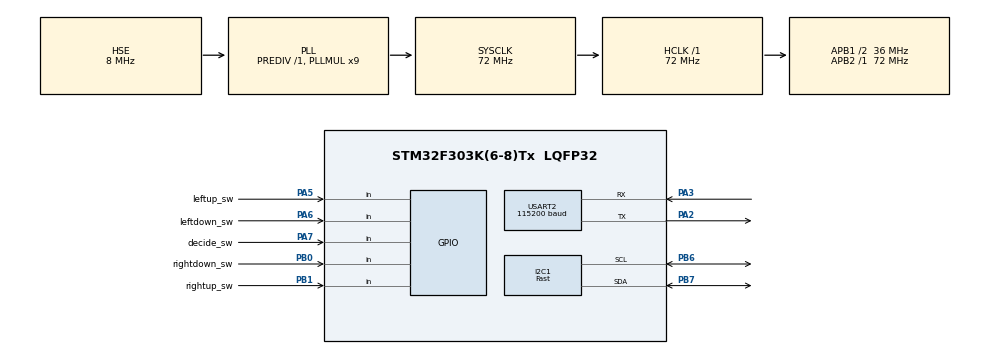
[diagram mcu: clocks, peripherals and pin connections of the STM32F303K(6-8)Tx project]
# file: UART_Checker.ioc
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I2C1.I2C_Speed_Mode=I2C_Fast
I2C1.Timing=0x0000020B
Mcu.Family=STM32F3
Mcu.Name=STM32F303K(6-8)Tx
Mcu.Package=LQFP32
NVIC.PriorityGroup=NVIC_PRIORITYGROUP_4
PA13.Mode=Serial_Wire
PA13.Signal=SYS_JTMS-SWDIO
PA14.Mode=Serial_Wire
PA14.Signal=SYS_JTCK-SWCLK
PA2.Mode=Asynchronous
PA2.Signal=USART2_TX
PA3.Mode=Asynchronous
PA3.Signal=USART2_RX
PA5.GPIO_Label=leftup_sw
PA5.Signal=GPIO_Input
PA6.GPIO_Label=leftdown_sw
PA6.Signal=GPIO_Input
PA7.GPIO_Label=decide_sw
PA7.Signal=GPIO_Input
PB0.GPIO_Label=rightdown_sw
PB0.Signal=GPIO_Input
PB1.GPIO_Label=rightup_sw
PB1.Signal=GPIO_Input
PB6.Mode=I2C
PB6.Signal=I2C1_SCL
PB7.Mode=I2C
PB7.Signal=I2C1_SDA
PF0\ /\ OSC_IN.Mode=HSE-External-Oscillator
PF0\ /\ OSC_IN.Signal=RCC_OSC_IN
PF1\ /\ OSC_OUT.Mode=HSE-External-Oscillator
PF1\ /\ OSC_OUT.Signal=RCC_OSC_OUT
ProjectManager.HeapSize=0x200
ProjectManager.StackSize=0x400
ProjectManager.TargetToolchain=STM32CubeIDE
RCC.AHBFreq_Value=72000000
RCC.APB1CLKDivider=RCC_HCLK_DIV2
RCC.APB1Freq_Value=36000000
RCC.APB1TimFreq_Value=72000000
RCC.APB2Freq_Value=72000000
RCC.APB2TimFreq_Value=72000000
RCC.CortexFreq_Value=72000000
RCC.HCLKFreq_Value=72000000
RCC.HSE_VALUE=8000000
RCC.HSI_VALUE=8000000
RCC.PLLMUL=RCC_PLL_MUL9
RCC.PLLSourceVirtual=RCC_PLLSOURCE_HSE
RCC.SYSCLKFreq_VALUE=72000000
RCC.SYSCLKSourceVirtual=RCC_SYSCLKSOURCE_PLLCLK
USART2.BaudRate=115200
USART2.VirtualMode-Asynchronous=VM_ASYNC
board=custom

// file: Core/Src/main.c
/* USER CODE BEGIN Header */
/**
  ******************************************************************************
  * @file           : main.c
  * @brief          : Main program body
  ******************************************************************************
  * @attention
  *
  * Copyright (c) 2025 STMicroelectronics.
  * All rights reserved.
  *
  * This software is licensed under terms that can be found in the LICENSE file
  * in the root directory of this software component.
  * If no LICENSE file comes with this software, it is provided AS-IS.
  *
  ******************************************************************************
  */
/* USER CODE END Header */
#include "main.h"

/* USER CODE BEGIN Includes */
#include "ssd1306_hal.h"
/* USER CODE END Includes */

/* USER CODE BEGIN PTD */
typedef enum {
	SETTING			= 0,
	RECEIVE_TEST,
	TRANSMIT_TEST,
	MONITOR_MODE,
} UART_Config_t;

typedef enum {
	BAUDRATE	= 0,
	RECEIVE,
	TRANSMIT,
	MONITOR,
} UART_Setting_t;
/* USER CODE END PTD */

I2C_HandleTypeDef hi2c1;

UART_HandleTypeDef huart2;

/* USER CODE BEGIN PV */
uint32_t baudrate = 115200;
uint32_t baudrate_select[10] = {1200, 2400, 4800, 9600, 19200, 38400, 57600, 115200, 230400, 460800};

uint8_t receive_num = 1;
uint8_t receive_buf[32] = {0};

uint8_t transmit_num = 1;
uint8_t transmi_buf[32] = {0};
/* USER CODE END PV */

void SystemClock_Config(void);
static void MX_GPIO_Init(void);
static void MX_I2C1_Init(void);
static void MX_USART2_UART_Init(void);
/* USER CODE BEGIN PFP */
void UART_Setting(void);
void Receive_Test(void);
void Transmit_Test(void);
void Monitor_Mode(void);
/* USER CODE END PFP */

int main(void)
{

  /* MCU Configuration--------------------------------------------------------*/

  /* Reset of all peripherals, Initializes the Flash interface and the Systick. */
  HAL_Init();

  /* Configure the system clock */
  SystemClock_Config();

  /* Initialize all configured peripherals */
  MX_GPIO_Init();
  MX_I2C1_Init();
  MX_USART2_UART_Init();
  /* USER CODE BEGIN 2 */
  OLED_Init(&hi2c1, OLED_Init_Data, sizeof(OLED_Init_Data));

  OLED_Thrcot_Large_Logo_Display(&hi2c1);
  HAL_Delay(2000);
  OLED_AllClear(&hi2c1);
  /* USER CODE END 2 */

  /* Infinite loop */
  /* USER CODE BEGIN WHILE */
  while (1)
  {
	  static UART_Config_t config = SETTING;

	  OLED_DataClear();
	  OLED_Char_Print("Select to do.", 0, 0);
	  OLED_Char_Print(" Settings", 0, 8);
	  OLED_Char_Print(" Receive test", 0, 16);
	  OLED_Char_Print(" Transmit test", 0, 24);
	  OLED_Char_Print(" SerialMonitor", 0, 32);
	  OLED_Char_Print(">", 0, config * 8 + 8);
	  OLED_Display(&hi2c1);

	  if (HAL_GPIO_ReadPin(decide_sw_GPIO_Port, decide_sw_Pin) == 1) {
		  while (HAL_GPIO_ReadPin(decide_sw_GPIO_Port, decide_sw_Pin) == 1);

		  switch (config) {
			case SETTING:
				UART_Setting();
				break;

			case RECEIVE_TEST:

				break;

			case TRANSMIT_TEST:

				break;

			case MONITOR_MODE:

				break;
		}
	  }

	  if (HAL_GPIO_ReadPin(leftup_sw_GPIO_Port, leftup_sw_Pin) == 1) {
		  while (HAL_GPIO_ReadPin(leftup_sw_GPIO_Port, leftup_sw_Pin) == 1);
		  config = (config == SETTING) ? MONITOR_MODE : config - 1;
	  }

	  if (HAL_GPIO_ReadPin(leftdown_sw_GPIO_Port, leftdown_sw_Pin) == 1) {
		  while (HAL_GPIO_ReadPin(leftdown_sw_GPIO_Port, leftdown_sw_Pin) == 1);
		  config = (config == MONITOR_MODE) ? SETTING : config + 1;
	  }
    /* USER CODE END WHILE */

  }
}

void SystemClock_Config(void)
{
  RCC_OscInitTypeDef RCC_OscInitStruct = {0};
  RCC_ClkInitTypeDef RCC_ClkInitStruct = {0};
  RCC_PeriphCLKInitTypeDef PeriphClkInit = {0};

  /** Initializes the RCC Oscillators according to the specified parameters
  * in the RCC_OscInitTypeDef structure.
  */
  RCC_OscInitStruct.OscillatorType = RCC_OSCILLATORTYPE_HSI|RCC_OSCILLATORTYPE_HSE;
  RCC_OscInitStruct.HSEState = RCC_HSE_ON;
  RCC_OscInitStruct.HSEPredivValue = RCC_HSE_PREDIV_DIV1;
  RCC_OscInitStruct.HSIState = RCC_HSI_ON;
  RCC_OscInitStruct.HSICalibrationValue = RCC_HSICALIBRATION_DEFAULT;
  RCC_OscInitStruct.PLL.PLLState = RCC_PLL_ON;
  RCC_OscInitStruct.PLL.PLLSource = RCC_PLLSOURCE_HSE;
  RCC_OscInitStruct.PLL.PLLMUL = RCC_PLL_MUL9;
  if (HAL_RCC_OscConfig(&RCC_OscInitStruct) != HAL_OK)
  {
    Error_Handler();
  }

  /** Initializes the CPU, AHB and APB buses clocks
  */
  RCC_ClkInitStruct.ClockType = RCC_CLOCKTYPE_HCLK|RCC_CLOCKTYPE_SYSCLK
                              |RCC_CLOCKTYPE_PCLK1|RCC_CLOCKTYPE_PCLK2;
  RCC_ClkInitStruct.SYSCLKSource = RCC_SYSCLKSOURCE_PLLCLK;
  RCC_ClkInitStruct.AHBCLKDivider = RCC_SYSCLK_DIV1;
  RCC_ClkInitStruct.APB1CLKDivider = RCC_HCLK_DIV2;
  RCC_ClkInitStruct.APB2CLKDivider = RCC_HCLK_DIV1;

  if (HAL_RCC_ClockConfig(&RCC_ClkInitStruct, FLASH_LATENCY_2) != HAL_OK)
  {
    Error_Handler();
  }
  PeriphClkInit.PeriphClockSelection = RCC_PERIPHCLK_I2C1;
  PeriphClkInit.I2c1ClockSelection = RCC_I2C1CLKSOURCE_HSI;
  if (HAL_RCCEx_PeriphCLKConfig(&PeriphClkInit) != HAL_OK)
  {
    Error_Handler();
  }
}

static void MX_I2C1_Init(void)
{

  hi2c1.Instance = I2C1;
  hi2c1.Init.Timing = 0x0000020B;
  hi2c1.Init.OwnAddress1 = 0;
  hi2c1.Init.AddressingMode = I2C_ADDRESSINGMODE_7BIT;
  hi2c1.Init.DualAddressMode = I2C_DUALADDRESS_DISABLE;
  hi2c1.Init.OwnAddress2 = 0;
  hi2c1.Init.OwnAddress2Masks = I2C_OA2_NOMASK;
  hi2c1.Init.GeneralCallMode = I2C_GENERALCALL_DISABLE;
  hi2c1.Init.NoStretchMode = I2C_NOSTRETCH_DISABLE;
  if (HAL_I2C_Init(&hi2c1) != HAL_OK)
  {
    Error_Handler();
  }

  /** Configure Analogue filter
  */
  if (HAL_I2CEx_ConfigAnalogFilter(&hi2c1, I2C_ANALOGFILTER_ENABLE) != HAL_OK)
  {
    Error_Handler();
  }

  /** Configure Digital filter
  */
  if (HAL_I2CEx_ConfigDigitalFilter(&hi2c1, 0) != HAL_OK)
  {
    Error_Handler();
  }

}

static void MX_USART2_UART_Init(void)
{

  huart2.Instance = USART2;
  huart2.Init.BaudRate = 115200;
  huart2.Init.WordLength = UART_WORDLENGTH_8B;
  huart2.Init.StopBits = UART_STOPBITS_1;
  huart2.Init.Parity = UART_PARITY_NONE;
  huart2.Init.Mode = UART_MODE_TX_RX;
  huart2.Init.HwFlowCtl = UART_HWCONTROL_NONE;
  huart2.Init.OverSampling = UART_OVERSAMPLING_16;
  huart2.Init.OneBitSampling = UART_ONE_BIT_SAMPLE_DISABLE;
  huart2.AdvancedInit.AdvFeatureInit = UART_ADVFEATURE_NO_INIT;
  if (HAL_UART_Init(&huart2) != HAL_OK)
  {
    Error_Handler();
  }

}

static void MX_GPIO_Init(void)
{
  GPIO_InitTypeDef GPIO_InitStruct = {0};

  /* GPIO Ports Clock Enable */
  __HAL_RCC_GPIOF_CLK_ENABLE();
  __HAL_RCC_GPIOA_CLK_ENABLE();
  __HAL_RCC_GPIOB_CLK_ENABLE();

  /*Configure GPIO pins : leftup_sw_Pin leftdown_sw_Pin decide_sw_Pin */
  GPIO_InitStruct.Pin = leftup_sw_Pin|leftdown_sw_Pin|decide_sw_Pin;
  GPIO_InitStruct.Mode = GPIO_MODE_INPUT;
  GPIO_InitStruct.Pull = GPIO_NOPULL;
  HAL_GPIO_Init(GPIOA, &GPIO_InitStruct);

  /*Configure GPIO pins : rightdown_sw_Pin rightup_sw_Pin */
  GPIO_InitStruct.Pin = rightdown_sw_Pin|rightup_sw_Pin;
  GPIO_InitStruct.Mode = GPIO_MODE_INPUT;
  GPIO_InitStruct.Pull = GPIO_NOPULL;
  HAL_GPIO_Init(GPIOB, &GPIO_InitStruct);

}

/* USER CODE BEGIN 4 */
void UART_Setting(void)
{
	UART_Setting_t setting = BAUDRATE;

	while (1) {
		OLED_DataClear();
		OLED_Char_Print("Select the setting", 0, 0);
		OLED_Char_Print(" Baud Rate", 0, 8);
		OLED_Char_Print(" Receive", 0, 16);
		OLED_Char_Print(" Transmit", 0, 24);
		OLED_Char_Print(" SerialMonitor", 0, 32);
		OLED_Char_Print(">", 0, setting * 8 + 8);
		OLED_Display(&hi2c1);

		if (HAL_GPIO_ReadPin(rightup_sw_GPIO_Port, rightup_sw_Pin) == 1 && HAL_GPIO_ReadPin(rightdown_sw_GPIO_Port, rightdown_sw_Pin) == 1) {
			break;
		}

		if (HAL_GPIO_ReadPin(decide_sw_GPIO_Port, decide_sw_Pin) == 1) {
			while (HAL_GPIO_ReadPin(decide_sw_GPIO_Port, decide_sw_Pin) == 1);

			switch (setting) {
				case BAUDRATE:
					int select_i = 0;
					int rate_i = 0;

					while (1) {
						OLED_DataClear();
						OLED_Char_Print("Now BaudRate:", 0, 0);
						OLED_Int_Print(baudrate, 78, 0);
						OLED_Char_Print(" BaudRate:", 0, 8);
						OLED_Int_Print(baudrate_select[rate_i], 60, 8);
						OLED_Char_Print(" Change BaudRate", 0, 16);
						OLED_Char_Print(">", 0, select_i * 8 + 8);
						OLED_Display(&hi2c1);

						if (HAL_GPIO_ReadPin(rightup_sw_GPIO_Port, rightup_sw_Pin) == 1 && HAL_GPIO_ReadPin(rightdown_sw_GPIO_Port, rightdown_sw_Pin) == 1) {
							break;
						}

						if (HAL_GPIO_ReadPin(rightup_sw_GPIO_Port, rightup_sw_Pin) == 1 && select_i == 0) {
							while (HAL_GPIO_ReadPin(rightup_sw_GPIO_Port, rightup_sw_Pin) == 1);
							rate_i = (rate_i == 9) ? 9 : rate_i + 1;
						}

						if (HAL_GPIO_ReadPin(rightdown_sw_GPIO_Port, rightdown_sw_Pin) == 1 && select_i == 0) {
							while (HAL_GPIO_ReadPin(rightdown_sw_GPIO_Port, rightdown_sw_Pin) == 1);
							rate_i = (rate_i == 0) ? 0 : rate_i - 1;
						}

						if (HAL_GPIO_ReadPin(decide_sw_GPIO_Port, decide_sw_Pin) == 1 && select_i == 1) {
							while (HAL_GPIO_ReadPin(decide_sw_GPIO_Port, decide_sw_Pin) == 1);

							baudrate = baudrate_select[rate_i];

							HAL_UART_DeInit(&huart2);
							huart2.Init.BaudRate = baudrate;

							if (HAL_UART_Init(&huart2) != HAL_OK) {
								Error_Handler();
							}

							break;
						}

						if (HAL_GPIO_ReadPin(leftup_sw_GPIO_Port, leftup_sw_Pin) == 1) {
							while (HAL_GPIO_ReadPin(leftup_sw_GPIO_Port, leftup_sw_Pin) == 1);
							select_i = (select_i == 0) ? 1 : 0;
						}

						if (HAL_GPIO_ReadPin(leftdown_sw_GPIO_Port, leftdown_sw_Pin) == 1) {
							while (HAL_GPIO_ReadPin(leftdown_sw_GPIO_Port, leftdown_sw_Pin) == 1);
							select_i = (select_i == 1) ? 0 : 1;
						}
					}

					while (HAL_GPIO_ReadPin(rightup_sw_GPIO_Port, rightup_sw_Pin) == 1 || HAL_GPIO_ReadPin(rightdown_sw_GPIO_Port, rightdown_sw_Pin) == 1);

					break;

				case RECEIVE:

					break;

				case TRANSMIT:

					break;

				case MONITOR:

					break;
			}
		}

		if (HAL_GPIO_ReadPin(leftup_sw_GPIO_Port, leftup_sw_Pin) == 1) {
			while (HAL_GPIO_ReadPin(leftup_sw_GPIO_Port, leftup_sw_Pin) == 1);
			setting = (setting == BAUDRATE) ? MONITOR : setting - 1;
		}

		if (HAL_GPIO_ReadPin(leftdown_sw_GPIO_Port, leftdown_sw_Pin) == 1) {
			while (HAL_GPIO_ReadPin(leftdown_sw_GPIO_Port, leftdown_sw_Pin) == 1);
			setting = (setting == MONITOR) ? BAUDRATE : setting + 1;
		}
	}

	while (HAL_GPIO_ReadPin(rightup_sw_GPIO_Port, rightup_sw_Pin) == 1 || HAL_GPIO_ReadPin(rightdown_sw_GPIO_Port, rightdown_sw_Pin) == 1);
}
/* USER CODE END 4 */

void Error_Handler(void)
{
  __disable_irq();
  while (1)
  {
  }
}
